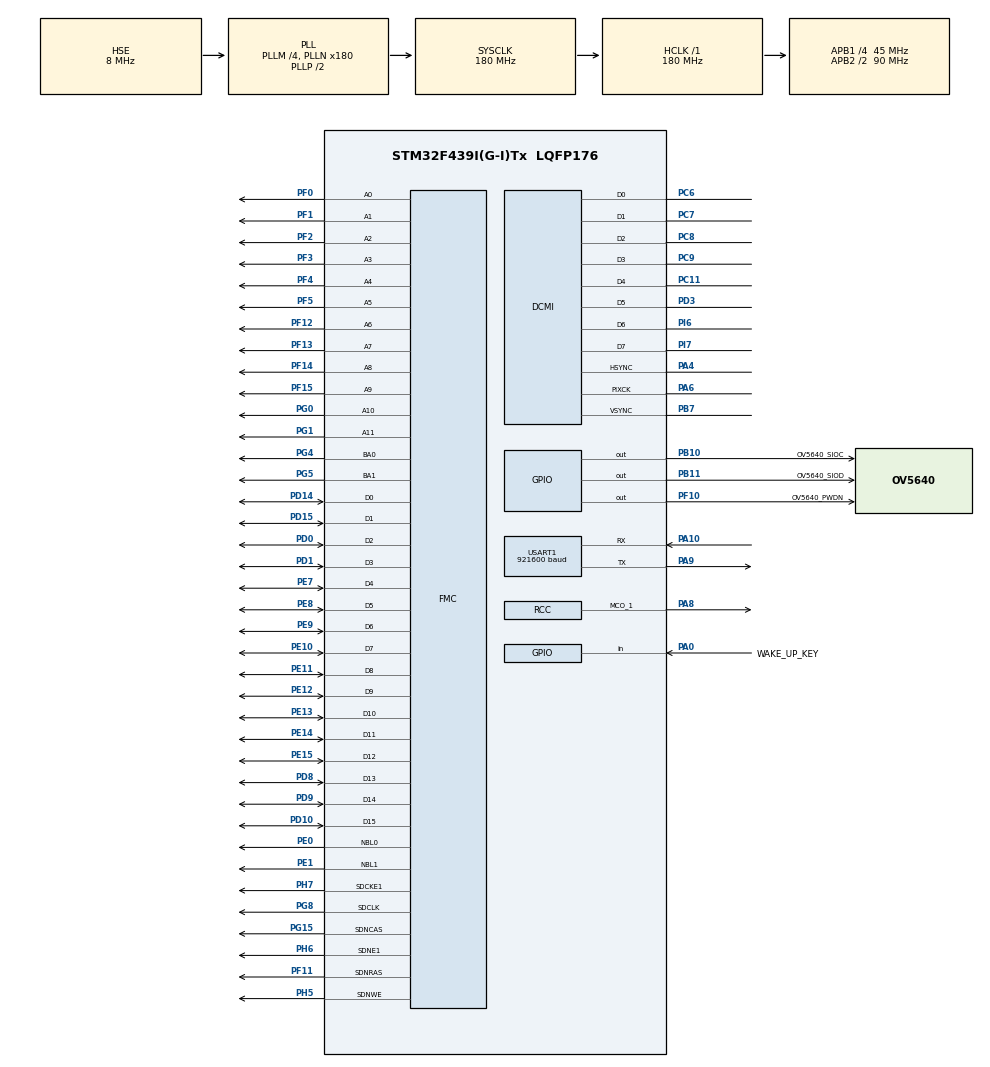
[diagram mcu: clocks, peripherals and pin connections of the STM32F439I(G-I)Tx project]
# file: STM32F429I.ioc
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DCMI.JPEGMode=DCMI_JPEG_ENABLE
DCMI.PCKPolarity=DCMI_PCKPOLARITY_RISING
Dma.DCMI.1.Direction=DMA_PERIPH_TO_MEMORY
Dma.DCMI.1.FIFOMode=DMA_FIFOMODE_ENABLE
Dma.DCMI.1.FIFOThreshold=DMA_FIFO_THRESHOLD_FULL
Dma.DCMI.1.Instance=DMA2_Stream1
Dma.DCMI.1.MemBurst=DMA_MBURST_SINGLE
Dma.DCMI.1.MemDataAlignment=DMA_MDATAALIGN_WORD
Dma.DCMI.1.MemInc=DMA_MINC_ENABLE
Dma.DCMI.1.Mode=DMA_CIRCULAR
Dma.DCMI.1.PeriphBurst=DMA_PBURST_SINGLE
Dma.DCMI.1.PeriphDataAlignment=DMA_PDATAALIGN_WORD
Dma.DCMI.1.PeriphInc=DMA_PINC_DISABLE
Dma.DCMI.1.Priority=DMA_PRIORITY_HIGH
Dma.MEMTOMEM.0.Direction=DMA_MEMORY_TO_MEMORY
Dma.MEMTOMEM.0.FIFOMode=DMA_FIFOMODE_ENABLE
Dma.MEMTOMEM.0.FIFOThreshold=DMA_FIFO_THRESHOLD_FULL
Dma.MEMTOMEM.0.Instance=DMA2_Stream0
Dma.MEMTOMEM.0.MemBurst=DMA_MBURST_SINGLE
Dma.MEMTOMEM.0.MemDataAlignment=DMA_MDATAALIGN_WORD
Dma.MEMTOMEM.0.MemInc=DMA_MINC_ENABLE
Dma.MEMTOMEM.0.Mode=DMA_NORMAL
Dma.MEMTOMEM.0.PeriphBurst=DMA_PBURST_SINGLE
Dma.MEMTOMEM.0.PeriphDataAlignment=DMA_PDATAALIGN_WORD
Dma.MEMTOMEM.0.PeriphInc=DMA_PINC_ENABLE
Dma.MEMTOMEM.0.Priority=DMA_PRIORITY_LOW
Dma.Request0=MEMTOMEM
Dma.Request1=DCMI
FMC.CASLatency1=FMC_SDRAM_CAS_LATENCY_3
FMC.ExitSelfRefreshDelay1=6
FMC.LoadToActiveDelay1=2
FMC.RCDDelay1=2
FMC.RPDelay1=2
FMC.RPDelay2=2
FMC.RowCycleDelay1=6
FMC.RowCycleDelay2=6
FMC.SDClockPeriod1=FMC_SDRAM_CLOCK_PERIOD_2
FMC.SDClockPeriod2=FMC_SDRAM_CLOCK_PERIOD_2
FMC.SelfRefreshTime1=4
FMC.WriteRecoveryTime1=2
Mcu.Family=STM32F4
Mcu.Name=STM32F439I(G-I)Tx
Mcu.Package=LQFP176
NVIC.DCMI_IRQn=true\:0\:0\:false\:false\:true\:true
NVIC.DMA2_Stream1_IRQn=true\:0\:0\:false\:false\:true\:true
NVIC.FMC_IRQn=true\:0\:0\:false\:false\:true\:true
NVIC.PriorityGroup=NVIC_PRIORITYGROUP_4
PA0/WKUP.GPIO_Label=WAKE_UP_KEY
PA0/WKUP.GPIO_PuPd=GPIO_PULLUP
PA0/WKUP.Signal=GPIO_Input
PA10.Mode=Asynchronous
PA10.Signal=USART1_RX
PA13.Mode=Serial_Wire
PA13.Signal=SYS_JTMS-SWDIO
PA14.Mode=Serial_Wire
PA14.Signal=SYS_JTCK-SWCLK
PA4.Mode=Slave_8_bits_External_Synchro
PA4.Signal=DCMI_HSYNC
PA6.Mode=Slave_8_bits_External_Synchro
PA6.Signal=DCMI_PIXCK
PA8.Mode=Clock-out-1
PA8.Signal=RCC_MCO_1
PA9.Mode=Asynchronous
PA9.Signal=USART1_TX
PB10.GPIO_Label=OV5640_SIOC
PB10.GPIO_ModeDefaultOutputPP=GPIO_MODE_OUTPUT_OD
PB10.GPIO_PuPd=GPIO_PULLUP
PB10.GPIO_Speed=GPIO_SPEED_FREQ_VERY_HIGH
PB10.PinState=GPIO_PIN_SET
PB10.Signal=GPIO_Output
PB11.GPIO_Label=OV5640_SIOD
PB11.GPIO_ModeDefaultOutputPP=GPIO_MODE_OUTPUT_OD
PB11.GPIO_PuPd=GPIO_PULLUP
PB11.GPIO_Speed=GPIO_SPEED_FREQ_VERY_HIGH
PB11.PinState=GPIO_PIN_SET
PB11.Signal=GPIO_Output
PB7.Mode=Slave_8_bits_External_Synchro
PB7.Signal=DCMI_VSYNC
PC11.Mode=Slave_8_bits_External_Synchro
PC11.Signal=DCMI_D4
PC6.Mode=Slave_8_bits_External_Synchro
PC6.Signal=DCMI_D0
PC7.Mode=Slave_8_bits_External_Synchro
PC7.Signal=DCMI_D1
PC8.Mode=Slave_8_bits_External_Synchro
PC8.Signal=DCMI_D2
PC9.Mode=Slave_8_bits_External_Synchro
PC9.Signal=DCMI_D3
PD0.Signal=FMC_D2_DA2
PD1.Signal=FMC_D3_DA3
PD10.Signal=FMC_D15_DA15
PD14.Signal=FMC_D0_DA0
PD15.Signal=FMC_D1_DA1
PD3.Mode=Slave_8_bits_External_Synchro
PD3.Signal=DCMI_D5
PD8.Signal=FMC_D13_DA13
PD9.Signal=FMC_D14_DA14
PE0.Signal=FMC_NBL0
PE1.Signal=FMC_NBL1
PE10.Signal=FMC_D7_DA7
PE11.Signal=FMC_D8_DA8
PE12.Signal=FMC_D9_DA9
PE13.Signal=FMC_D10_DA10
PE14.Signal=FMC_D11_DA11
PE15.Signal=FMC_D12_DA12
PE7.Signal=FMC_D4_DA4
PE8.Signal=FMC_D5_DA5
PE9.Signal=FMC_D6_DA6
PF0.Signal=FMC_A0
PF1.Signal=FMC_A1
PF10.GPIO_Label=OV5640_PWDN
PF10.PinState=GPIO_PIN_SET
PF10.Signal=GPIO_Output
PF11.Signal=FMC_SDNRAS
PF12.Signal=FMC_A6
PF13.Signal=FMC_A7
PF14.Signal=FMC_A8
PF15.Signal=FMC_A9
PF2.Signal=FMC_A2
PF3.Signal=FMC_A3
PF4.Signal=FMC_A4
PF5.Signal=FMC_A5
PG0.Signal=FMC_A10
PG1.Signal=FMC_A11
PG15.Signal=FMC_SDNCAS
PG4.Signal=FMC_A14_BA0
PG5.Signal=FMC_A15_BA1
PG8.Signal=FMC_SDCLK
PH0/OSC_IN.Mode=HSE-External-Oscillator
PH0/OSC_IN.Signal=RCC_OSC_IN
PH1/OSC_OUT.Mode=HSE-External-Oscillator
PH1/OSC_OUT.Signal=RCC_OSC_OUT
PH5.Signal=FMC_SDNWE
PH6.Mode=SdramChipSelect2_1
PH6.Signal=FMC_SDNE1
PH7.Mode=SdramChipSelect2_1
PH7.Signal=FMC_SDCKE1
PI6.Mode=Slave_8_bits_External_Synchro
PI6.Signal=DCMI_D6
PI7.Mode=Slave_8_bits_External_Synchro
PI7.Signal=DCMI_D7
ProjectManager.HeapSize=0x200
ProjectManager.StackSize=0x400
ProjectManager.TargetToolchain=MDK-ARM V5
RCC.48MHZClocksFreq_Value=90000000
RCC.AHBFreq_Value=180000000
RCC.APB1CLKDivider=RCC_HCLK_DIV4
RCC.APB1Freq_Value=45000000
RCC.APB1TimFreq_Value=90000000
RCC.APB2CLKDivider=RCC_HCLK_DIV2
RCC.APB2Freq_Value=90000000
RCC.APB2TimFreq_Value=180000000
RCC.CortexFreq_Value=180000000
RCC.HCLKFreq_Value=180000000
RCC.HSE_VALUE=8000000
RCC.HSI_VALUE=16000000
RCC.LSE_VALUE=32768
RCC.PLLM=4
RCC.PLLN=180
RCC.PLLSAIDivR=RCC_PLLSAIDIVR_4
RCC.PLLSAIN=50
RCC.PLLSourceVirtual=RCC_PLLSOURCE_HSE
RCC.SYSCLKFreq_VALUE=180000000
RCC.SYSCLKSource=RCC_SYSCLKSOURCE_PLLCLK
RCC.VCOOutputFreq_Value=360000000
SH.FMC_A0.0=FMC_A0,12b-sda1
SH.FMC_A1.0=FMC_A1,12b-sda1
SH.FMC_A10.0=FMC_A10,12b-sda1
SH.FMC_A11.0=FMC_A11,12b-sda1
SH.FMC_A14_BA0.0=FMC_BA0,FourSdramBanks1
SH.FMC_A15_BA1.0=FMC_BA1,FourSdramBanks1
SH.FMC_A2.0=FMC_A2,12b-sda1
SH.FMC_A3.0=FMC_A3,12b-sda1
SH.FMC_A4.0=FMC_A4,12b-sda1
SH.FMC_A5.0=FMC_A5,12b-sda1
SH.FMC_A6.0=FMC_A6,12b-sda1
SH.FMC_A7.0=FMC_A7,12b-sda1
SH.FMC_A8.0=FMC_A8,12b-sda1
SH.FMC_A9.0=FMC_A9,12b-sda1
SH.FMC_D0_DA0.0=FMC_D0,sd-16b-d1
SH.FMC_D10_DA10.0=FMC_D10,sd-16b-d1
SH.FMC_D11_DA11.0=FMC_D11,sd-16b-d1
SH.FMC_D12_DA12.0=FMC_D12,sd-16b-d1
SH.FMC_D13_DA13.0=FMC_D13,sd-16b-d1
SH.FMC_D14_DA14.0=FMC_D14,sd-16b-d1
SH.FMC_D15_DA15.0=FMC_D15,sd-16b-d1
SH.FMC_D1_DA1.0=FMC_D1,sd-16b-d1
SH.FMC_D2_DA2.0=FMC_D2,sd-16b-d1
SH.FMC_D3_DA3.0=FMC_D3,sd-16b-d1
SH.FMC_D4_DA4.0=FMC_D4,sd-16b-d1
SH.FMC_D5_DA5.0=FMC_D5,sd-16b-d1
SH.FMC_D6_DA6.0=FMC_D6,sd-16b-d1
SH.FMC_D7_DA7.0=FMC_D7,sd-16b-d1
SH.FMC_D8_DA8.0=FMC_D8,sd-16b-d1
SH.FMC_D9_DA9.0=FMC_D9,sd-16b-d1
SH.FMC_NBL0.0=FMC_NBL0,Sd2ByteEnable1
SH.FMC_NBL1.0=FMC_NBL1,Sd2ByteEnable1
SH.FMC_SDCLK.0=FMC_SDCLK,12b-sda1
SH.FMC_SDNCAS.0=FMC_SDNCAS,12b-sda1
SH.FMC_SDNRAS.0=FMC_SDNRAS,12b-sda1
SH.FMC_SDNWE.0=FMC_SDNWE,12b-sda1
USART1.BaudRate=921600
USART1.VirtualMode=VM_ASYNC
board=STM32F429I

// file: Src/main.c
/**
  ******************************************************************************
  * File Name          : main.c
  * Description        : Main program body
  ******************************************************************************
  ** This notice applies to any and all portions of this file
  * that are not between comment pairs USER CODE BEGIN and
  * USER CODE END. Other portions of this file, whether
  * inserted by the user or by software development tools
  * are owned by their respective copyright owners.
  *
  * COPYRIGHT(c) 2017 STMicroelectronics
  *
  * Redistribution and use in source and binary forms, with or without modification,
  * are permitted provided that the following conditions are met:
  *   1. Redistributions of source code must retain the above copyright notice,
  *      this list of conditions and the following disclaimer.
  *   2. Redistributions in binary form must reproduce the above copyright notice,
  *      this list of conditions and the following disclaimer in the documentation
  *      and/or other materials provided with the distribution.
  *   3. Neither the name of STMicroelectronics nor the names of its contributors
  *      may be used to endorse or promote products derived from this software
  *      without specific prior written permission.
  *
  * THIS SOFTWARE IS PROVIDED BY THE COPYRIGHT HOLDERS AND CONTRIBUTORS "AS IS"
  * AND ANY EXPRESS OR IMPLIED WARRANTIES, INCLUDING, BUT NOT LIMITED TO, THE
  * IMPLIED WARRANTIES OF MERCHANTABILITY AND FITNESS FOR A PARTICULAR PURPOSE ARE
  * DISCLAIMED. IN NO EVENT SHALL THE COPYRIGHT HOLDER OR CONTRIBUTORS BE LIABLE
  * FOR ANY DIRECT, INDIRECT, INCIDENTAL, SPECIAL, EXEMPLARY, OR CONSEQUENTIAL
  * DAMAGES (INCLUDING, BUT NOT LIMITED TO, PROCUREMENT OF SUBSTITUTE GOODS OR
  * SERVICES; LOSS OF USE, DATA, OR PROFITS; OR BUSINESS INTERRUPTION) HOWEVER
  * CAUSED AND ON ANY THEORY OF LIABILITY, WHETHER IN CONTRACT, STRICT LIABILITY,
  * OR TORT (INCLUDING NEGLIGENCE OR OTHERWISE) ARISING IN ANY WAY OUT OF THE USE
  * OF THIS SOFTWARE, EVEN IF ADVISED OF THE POSSIBILITY OF SUCH DAMAGE.
  *
  ******************************************************************************
  */

#include "main.h"
#include "stm32f4xx_hal.h"
#include "dcmi.h"
#include "dma.h"
#include "usart.h"
#include "gpio.h"
#include "fmc.h"

/* USER CODE BEGIN Includes */

#include "../BSP/stm324x9i_sdram.h"
#include "../BSP/ov5640.h"

/* USER CODE END Includes */

/* USER CODE BEGIN PV */

/* Private variables ---------------------------------------------------------*/

/* USER CODE END PV */

void SystemClock_Config(void);

/* USER CODE BEGIN PFP */
/* Private function prototypes -----------------------------------------------*/

/* USER CODE END PFP */

int main(void)
{

  /* MCU Configuration----------------------------------------------------------*/

  /* Reset of all peripherals, Initializes the Flash interface and the Systick. */
  HAL_Init();

  /* Configure the system clock */
  SystemClock_Config();

  /* Initialize all configured peripherals */
  MX_GPIO_Init();
  MX_DMA_Init();
  MX_USART1_UART_Init();
  MX_FMC_Init();
  MX_DCMI_Init();

  /* USER CODE BEGIN 2 */

        BSP_SDRAM_Init();

        printf("Initializing, please wait ...\r\n");

        while(OV5640_Init())
        {
                HAL_Delay(500);
                printf("OV5640 Initialization error, please check !\r\n");
        }
	OV5640_Light_Mode(0);	   //set auto
	OV5640_Color_Saturation(3); //default
	OV5640_Brightness(4);	//default
	OV5640_Contrast(3);     //default
	OV5640_Sharpness(33);	//set auto

        printf("Waveshare OV5640 Test \r\n");
        printf("press WAKE UP key to send JPEG to UART port \r\n");

  /* USER CODE END 2 */

  /* Infinite loop */
  /* USER CODE BEGIN WHILE */
  while (1)
  {

        if(WAKE_UP_KEY_PRESS)
        {
                HAL_Delay(15);
                if(WAKE_UP_KEY_PRESS)
                {
                        jpeg_test(VGA_640_480);
                }
                while(WAKE_UP_KEY_PRESS);   // wait until key restore
        }

  /* USER CODE END WHILE */

  }

}

/** System Clock Configuration
*/
void SystemClock_Config(void)
{

  RCC_OscInitTypeDef RCC_OscInitStruct;
  RCC_ClkInitTypeDef RCC_ClkInitStruct;

    /**Configure the main internal regulator output voltage
    */
  __HAL_RCC_PWR_CLK_ENABLE();

  __HAL_PWR_VOLTAGESCALING_CONFIG(PWR_REGULATOR_VOLTAGE_SCALE1);

    /**Initializes the CPU, AHB and APB busses clocks
    */
  RCC_OscInitStruct.OscillatorType = RCC_OSCILLATORTYPE_HSI|RCC_OSCILLATORTYPE_HSE;
  RCC_OscInitStruct.HSEState = RCC_HSE_ON;
  RCC_OscInitStruct.HSIState = RCC_HSI_ON;
  RCC_OscInitStruct.HSICalibrationValue = 16;
  RCC_OscInitStruct.PLL.PLLState = RCC_PLL_ON;
  RCC_OscInitStruct.PLL.PLLSource = RCC_PLLSOURCE_HSE;
  RCC_OscInitStruct.PLL.PLLM = 4;
  RCC_OscInitStruct.PLL.PLLN = 180;
  RCC_OscInitStruct.PLL.PLLP = RCC_PLLP_DIV2;
  RCC_OscInitStruct.PLL.PLLQ = 4;
  if (HAL_RCC_OscConfig(&RCC_OscInitStruct) != HAL_OK)
  {
    _Error_Handler(__FILE__, __LINE__);
  }

    /**Activate the Over-Drive mode
    */
  if (HAL_PWREx_EnableOverDrive() != HAL_OK)
  {
    _Error_Handler(__FILE__, __LINE__);
  }

    /**Initializes the CPU, AHB and APB busses clocks
    */
  RCC_ClkInitStruct.ClockType = RCC_CLOCKTYPE_HCLK|RCC_CLOCKTYPE_SYSCLK
                              |RCC_CLOCKTYPE_PCLK1|RCC_CLOCKTYPE_PCLK2;
  RCC_ClkInitStruct.SYSCLKSource = RCC_SYSCLKSOURCE_PLLCLK;
  RCC_ClkInitStruct.AHBCLKDivider = RCC_SYSCLK_DIV1;
  RCC_ClkInitStruct.APB1CLKDivider = RCC_HCLK_DIV4;
  RCC_ClkInitStruct.APB2CLKDivider = RCC_HCLK_DIV2;

  if (HAL_RCC_ClockConfig(&RCC_ClkInitStruct, FLASH_LATENCY_5) != HAL_OK)
  {
    _Error_Handler(__FILE__, __LINE__);
  }

  HAL_RCC_MCOConfig(RCC_MCO1, RCC_MCO1SOURCE_HSI, RCC_MCODIV_1);

    /**Configure the Systick interrupt time
    */
  HAL_SYSTICK_Config(HAL_RCC_GetHCLKFreq()/1000);

    /**Configure the Systick
    */
  HAL_SYSTICK_CLKSourceConfig(SYSTICK_CLKSOURCE_HCLK);

  /* SysTick_IRQn interrupt configuration */
  HAL_NVIC_SetPriority(SysTick_IRQn, 0, 0);
}

void _Error_Handler(char * file, int line)
{
  while(1)
  {
  }
}

/************************ (C) COPYRIGHT STMicroelectronics *****END OF FILE****/
